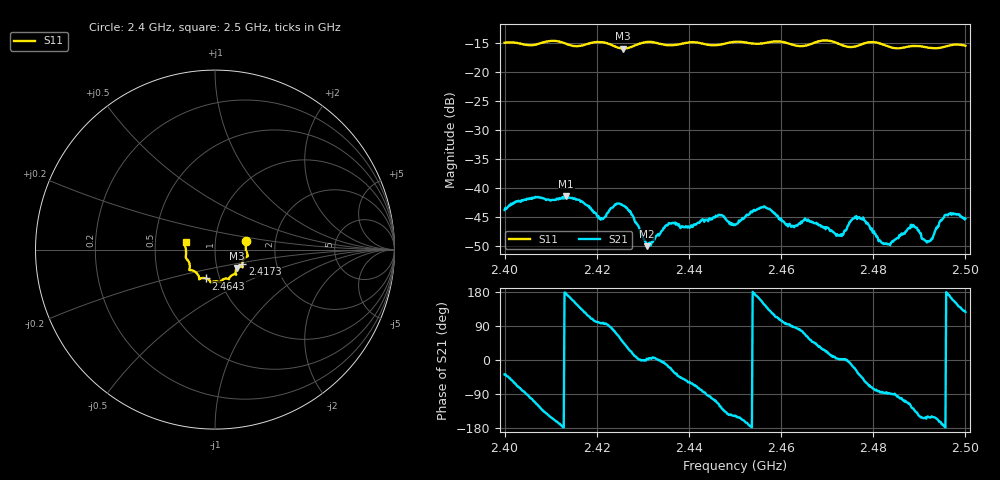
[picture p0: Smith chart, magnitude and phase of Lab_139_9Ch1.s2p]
# Hz S RI R 50
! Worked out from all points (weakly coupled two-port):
!   601 points, 2.4 GHz to 2.5 GHz, reference 50 ohm
!   highest |S21| = -41.42 dB at 2.4133 GHz (marker M1); lowest = -50.0 dB at 2.4308 GHz (marker M2)
!   lowest |S11| = -15.9 dB at 2.4257 GHz (marker M3), VSWR 1.38, Z = 62.5 - j13.2 ohm
!   |S11| at or under -10 dB: start of sweep to end of sweep
!   S12 and S22 are empty: the file has one direction only
!   S11 on the Smith chart (normalised r, x): 2.4 GHz: 1.41, +0.14; 2.4173 GHz: 1.34, -0.22; 2.4643 GHz: 0.86, -0.29; 2.5 GHz: 0.72, +0.06
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2.4e9  0.1733 0.0488  0.00512 -0.00398  0 0  0 0
2.413333e9  0.1712 -0.0427  -0.00847 0.00063  0 0  0 0
2.416667e9  0.1528 -0.074  -0.00531 0.00559  0 0  0 0
2.417333e9  0.1521 -0.0815  -0.00427 0.00602  0 0  0 0
2.421e9  0.1542 -0.097  -0.000644 0.0055  0 0  0 0
2.425667e9  0.123 -0.1026  0.00485 0.00519  0 0  0 0
2.430833e9  0.1187 -0.1389  0.00316 0.000194  0 0  0 0
2.433333e9  0.1127 -0.1374  0.00403 -2.17e-05  0 0  0 0
2.436e9  0.0941 -0.1428  0.00465 -0.00178  0 0  0 0
2.446667e9  0.0428 -0.1676  -0.00312 -0.005  0 0  0 0
2.45e9  0.0288 -0.1814  -0.00401 -0.00264  0 0  0 0
2.456e9  -0.00685 -0.1774  -0.00604 0.00328  0 0  0 0
2.461167e9  -0.0265 -0.1775  -0.000378 0.00479  0 0  0 0
2.464333e9  -0.0496 -0.1608  0.00116 0.00501  0 0  0 0
2.466667e9  -0.0759 -0.1595  0.00336 0.00382  0 0  0 0
2.472833e9  -0.0907 -0.1489  0.0039 0.000175  0 0  0 0
2.477333e9  -0.1296 -0.1152  0.00393 -0.00373  0 0  0 0
2.483333e9  -0.1405 -0.0898  0.000117 -0.00329  0 0  0 0
2.488667e9  -0.162 -0.047  -0.00296 -0.00382  0 0  0 0
2.492e9  -0.161 -0.0258  -0.00305 -0.00171  0 0  0 0
2.496e9  -0.1669 0.0195  -0.00585 0.000397  0 0  0 0
2.5e9  -0.1639 0.0426  -0.00326 0.00437  0 0  0 0
